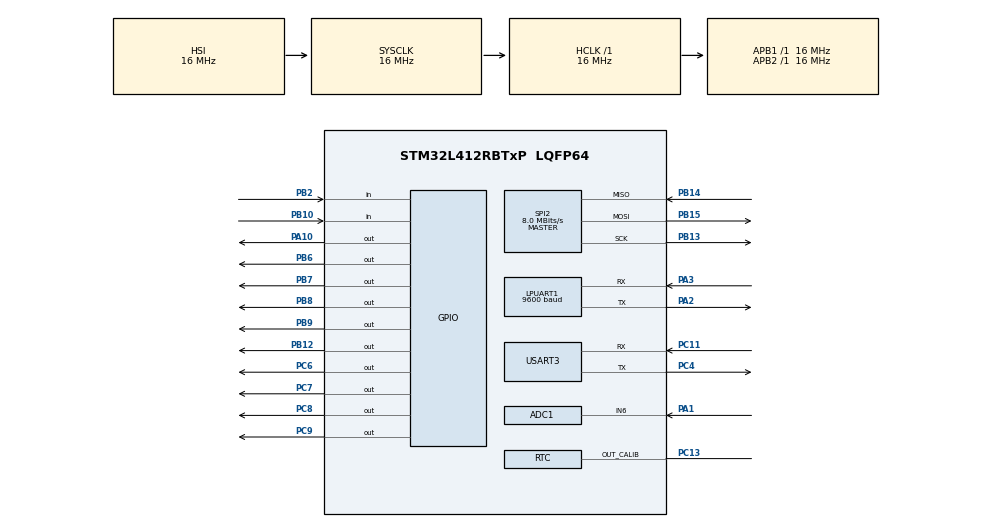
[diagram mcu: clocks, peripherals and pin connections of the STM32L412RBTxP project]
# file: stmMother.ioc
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ADC1.Channel-1\#ChannelRegularConversion=ADC_CHANNEL_6
ADC1.NbrOfConversionFlag=1
ADC1.OffsetNumber-1\#ChannelRegularConversion=ADC_OFFSET_NONE
ADC1.Rank-1\#ChannelRegularConversion=1
ADC1.SamplingTime-1\#ChannelRegularConversion=ADC_SAMPLETIME_2CYCLES_5
ADC1.master=1
FATFS._MAX_SS=4096
FATFS._USE_LFN=1
LPUART1.BaudRate=9600
LPUART1.WordLength=UART_WORDLENGTH_8B
Mcu.Family=STM32L4
Mcu.Name=STM32L412RBTxP
Mcu.Package=LQFP64
NVIC.LPUART1_IRQn=true\:0\:0\:false\:false\:true\:true\:true\:true
NVIC.PriorityGroup=NVIC_PRIORITYGROUP_4
NVIC.RTC_Alarm_IRQn=true\:0\:0\:false\:false\:true\:true\:true\:true
PA1.Signal=ADCx_IN6
PA10.Signal=GPIO_Output
PA2.Mode=Asynchronous
PA2.Signal=LPUART1_TX
PA3.Mode=Asynchronous
PA3.Signal=LPUART1_RX
PB10.Signal=GPIO_Input
PB12.Signal=GPIO_Output
PB13.Mode=Full_Duplex_Master
PB13.Signal=SPI2_SCK
PB14.Mode=Full_Duplex_Master
PB14.Signal=SPI2_MISO
PB15.Mode=Full_Duplex_Master
PB15.Signal=SPI2_MOSI
PB2.Signal=GPIO_Input
PB6.Signal=GPIO_Output
PB7.Signal=GPIO_Output
PB8.Signal=GPIO_Output
PB9.Signal=GPIO_Output
PC11.Mode=Asynchronous
PC11.Signal=USART3_RX
PC13.Mode=Calibration_512Hz
PC13.Signal=RTC_OUT_CALIB
PC14-OSC32_IN\ (PC14).Mode=LSE-External-Oscillator
PC14-OSC32_IN\ (PC14).Signal=RCC_OSC32_IN
PC15-OSC32_OUT\ (PC15).Mode=LSE-External-Oscillator
PC15-OSC32_OUT\ (PC15).Signal=RCC_OSC32_OUT
PC4.Mode=Asynchronous
PC4.Signal=USART3_TX
PC6.Signal=GPIO_Output
PC7.Signal=GPIO_Output
PC8.Signal=GPIO_Output
PC9.Signal=GPIO_Output
PH0-OSC_IN\ (PH0).Mode=HSE-External-Oscillator
PH0-OSC_IN\ (PH0).Signal=RCC_OSC_IN
PH1-OSC_OUT\ (PH1).Mode=HSE-External-Oscillator
PH1-OSC_OUT\ (PH1).Signal=RCC_OSC_OUT
ProjectManager.HeapSize=0x200
ProjectManager.StackSize=0x400
ProjectManager.TargetToolchain=STM32CubeIDE
RCC.ADCFreq_Value=16000000
RCC.AHBFreq_Value=16000000
RCC.APB1Freq_Value=16000000
RCC.APB1TimFreq_Value=16000000
RCC.APB2Freq_Value=16000000
RCC.APB2TimFreq_Value=16000000
RCC.CortexFreq_Value=16000000
RCC.HCLKFreq_Value=16000000
RCC.HSE_VALUE=8000000
RCC.HSI48_VALUE=48000000
RCC.HSI_VALUE=16000000
RCC.MSI_VALUE=4000000
RCC.PLLSourceVirtual=RCC_PLLSOURCE_HSI
RCC.RTCClockSelection=RCC_RTCCLKSOURCE_LSE
RCC.SYSCLKFreq_VALUE=16000000
RCC.SYSCLKSource=RCC_SYSCLKSOURCE_HSI
RCC.USBFreq_Value=4000000
RCC.VCOOutputFreq_Value=128000000
RTC.Alarm-Alarm\ A=RTC_ALARM_A
RTC.AlarmDateWeekDaySel-Alarm\ A=RTC_ALARMDATEWEEKDAYSEL_WEEKDAY
RTC.AlarmMaskDateWeekDay-Alarm\ A=RTC_ALARMMASK_DATEWEEKDAY
RTC.AlarmMaskDateWeekDay_B-Alarm\ B=RTC_ALARMMASK_DATEWEEKDAY
RTC.AlarmMaskHours-Alarm\ A=RTC_ALARMMASK_HOURS
RTC.AlarmMaskHours_B-Alarm\ B=RTC_ALARMMASK_HOURS
RTC.AlarmMaskMinutes-Alarm\ A=RTC_ALARMMASK_MINUTES
RTC.AlarmMaskMinutes_B-Alarm\ B=RTC_ALARMMASK_MINUTES
RTC.Alarm_B-Alarm\ B=RTC_ALARM_B
RTC.Date=1
RTC.Format=RTC_FORMAT_BIN
RTC.Seconds_B-Alarm\ B=30
SH.ADCx_IN6.0=ADC1_IN6,IN6-Single-Ended
SPI2.CalculateBaudRate=8.0 MBits/s
SPI2.DataSize=SPI_DATASIZE_8BIT
SPI2.Direction=SPI_DIRECTION_2LINES
SPI2.Mode=SPI_MODE_MASTER
SPI2.VirtualType=VM_MASTER
USART3.VirtualMode-Asynchronous=VM_ASYNC
VP_FATFS_VS_Generic.Mode=User_defined
VP_RNG_VS_RNG.Mode=RNG_Activate
VP_RTC_VS_RTC_Activate.Mode=RTC_Enabled
VP_RTC_VS_RTC_Alarm_A_Intern.Mode=Alarm A
VP_RTC_VS_RTC_Alarm_B_Intern.Mode=Alarm B
VP_RTC_VS_RTC_Calendar.Mode=RTC_Calendar
board=custom

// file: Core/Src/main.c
/* USER CODE BEGIN Header */
/**
  ******************************************************************************
  * @file           : main.c
  * @brief          : Main program body
  ******************************************************************************
  * @attention
  *
  * Copyright (c) 2023 STMicroelectronics.
  * All rights reserved.
  *
  * This software is licensed under terms that can be found in the LICENSE file
  * in the root directory of this software component.
  * If no LICENSE file comes with this software, it is provided AS-IS.
  *
  ******************************************************************************
  */
/* USER CODE END Header */
#include "main.h"
#include "fatfs.h"

/* USER CODE BEGIN Includes */
#include "retarget.h"
#include <ManagementMother.h>
#include <stdio.h>
#include <stdlib.h>
#include <FlashMemoryAccess.h>
#include "UnitTests.h"

//#include <LCD/LiquidCrystal.h>
/* USER CODE END Includes */

ADC_HandleTypeDef hadc1;

UART_HandleTypeDef hlpuart1;
UART_HandleTypeDef huart3;

RNG_HandleTypeDef hrng;

RTC_HandleTypeDef hrtc;

SPI_HandleTypeDef hspi2;

void SystemClock_Config(void);
static void MX_GPIO_Init(void);
static void MX_RTC_Init(void);
static void MX_LPUART1_UART_Init(void);
static void MX_USART3_UART_Init(void);
static void MX_SPI2_Init(void);
static void MX_RNG_Init(void);
static void MX_ADC1_Init(void);

/* USER CODE BEGIN 0 */
struct Queue RXFIFO;
uint8_t UART2_rxBuffer[20];

/* USER CODE END 0 */

int main(void)
{
  /* USER CODE BEGIN 1 */
	char buf[100];

	struct CommunicationHandles handles;
    handles.SPIhandle = &hspi2;
	handles.RTChandle = &hrtc;

  /* USER CODE END 1 */

  /* MCU Configuration--------------------------------------------------------*/

  /* Reset of all peripherals, Initializes the Flash interface and the Systick. */
  HAL_Init();

  /* Configure the system clock */
  SystemClock_Config();

  /* Initialize all configured peripherals */
  MX_GPIO_Init();
  MX_FATFS_Init();
  MX_RTC_Init();
  MX_LPUART1_UART_Init();
  MX_USART3_UART_Init();
  MX_SPI2_Init();
  MX_RNG_Init();
  MX_ADC1_Init();
  /* USER CODE BEGIN 2 */
  RetargetInit(&huart3);

struct rfDataStorage rfData;
rfData.RXFIFO = &RXFIFO;

HAL_UART_Receive_IT(&hlpuart1, UART2_rxBuffer, MSG_SIZE_TRANSFER);

if(mainSetup(&rfData, &handles)){
   mainOperation(&rfData, &handles);
}

HAL_GPIO_WritePin(GPIOC, GPIO_PIN_6, GPIO_PIN_SET);
HAL_GPIO_WritePin(GPIOC, GPIO_PIN_7, GPIO_PIN_SET);
HAL_GPIO_WritePin(GPIOC, GPIO_PIN_8, GPIO_PIN_SET);
HAL_GPIO_WritePin(GPIOC, GPIO_PIN_9, GPIO_PIN_SET);
  /* USER CODE END 2 */

  /* Infinite loop */
  while (1)
  {

    /* USER CODE BEGIN 3 */
/*
	  HAL_GPIO_WritePin(SDcardGPIO, SDcardGPIOPin, GPIO_PIN_SET);
	  HAL_Delay(100);
	  SDcardTest();
	  HAL_GPIO_WritePin(SDcardGPIO, SDcardGPIOPin, GPIO_PIN_RESET);
*/
	  printf("Loop");
	  HAL_Delay(1000);
  }
  /* USER CODE END 3 */
}

void SystemClock_Config(void)
{
  RCC_OscInitTypeDef RCC_OscInitStruct = {0};
  RCC_ClkInitTypeDef RCC_ClkInitStruct = {0};

  /** Configure the main internal regulator output voltage
  */
  if (HAL_PWREx_ControlVoltageScaling(PWR_REGULATOR_VOLTAGE_SCALE1) != HAL_OK)
  {
    Error_Handler();
  }

  /** Configure LSE Drive Capability
  */
  HAL_PWR_EnableBkUpAccess();
  __HAL_RCC_LSEDRIVE_CONFIG(RCC_LSEDRIVE_LOW);

  /** Initializes the RCC Oscillators according to the specified parameters
  * in the RCC_OscInitTypeDef structure.
  */
  RCC_OscInitStruct.OscillatorType = RCC_OSCILLATORTYPE_HSI|RCC_OSCILLATORTYPE_LSE
                              |RCC_OSCILLATORTYPE_MSI;
  RCC_OscInitStruct.LSEState = RCC_LSE_ON;
  RCC_OscInitStruct.HSIState = RCC_HSI_ON;
  RCC_OscInitStruct.HSICalibrationValue = RCC_HSICALIBRATION_DEFAULT;
  RCC_OscInitStruct.MSIState = RCC_MSI_ON;
  RCC_OscInitStruct.MSICalibrationValue = 0;
  RCC_OscInitStruct.MSIClockRange = RCC_MSIRANGE_6;
  RCC_OscInitStruct.PLL.PLLState = RCC_PLL_NONE;
  if (HAL_RCC_OscConfig(&RCC_OscInitStruct) != HAL_OK)
  {
    Error_Handler();
  }

  /** Initializes the CPU, AHB and APB buses clocks
  */
  RCC_ClkInitStruct.ClockType = RCC_CLOCKTYPE_HCLK|RCC_CLOCKTYPE_SYSCLK
                              |RCC_CLOCKTYPE_PCLK1|RCC_CLOCKTYPE_PCLK2;
  RCC_ClkInitStruct.SYSCLKSource = RCC_SYSCLKSOURCE_HSI;
  RCC_ClkInitStruct.AHBCLKDivider = RCC_SYSCLK_DIV1;
  RCC_ClkInitStruct.APB1CLKDivider = RCC_HCLK_DIV1;
  RCC_ClkInitStruct.APB2CLKDivider = RCC_HCLK_DIV1;

  if (HAL_RCC_ClockConfig(&RCC_ClkInitStruct, FLASH_LATENCY_0) != HAL_OK)
  {
    Error_Handler();
  }

  /** Enable MSI Auto calibration
  */
  HAL_RCCEx_EnableMSIPLLMode();
}

static void MX_ADC1_Init(void)
{

  ADC_MultiModeTypeDef multimode = {0};
  ADC_ChannelConfTypeDef sConfig = {0};

  /** Common config
  */
  hadc1.Instance = ADC1;
  hadc1.Init.ClockPrescaler = ADC_CLOCK_ASYNC_DIV1;
  hadc1.Init.Resolution = ADC_RESOLUTION_12B;
  hadc1.Init.DataAlign = ADC_DATAALIGN_RIGHT;
  hadc1.Init.ScanConvMode = ADC_SCAN_DISABLE;
  hadc1.Init.EOCSelection = ADC_EOC_SINGLE_CONV;
  hadc1.Init.LowPowerAutoWait = DISABLE;
  hadc1.Init.ContinuousConvMode = DISABLE;
  hadc1.Init.NbrOfConversion = 1;
  hadc1.Init.DiscontinuousConvMode = DISABLE;
  hadc1.Init.ExternalTrigConv = ADC_SOFTWARE_START;
  hadc1.Init.ExternalTrigConvEdge = ADC_EXTERNALTRIGCONVEDGE_NONE;
  hadc1.Init.DMAContinuousRequests = DISABLE;
  hadc1.Init.Overrun = ADC_OVR_DATA_PRESERVED;
  hadc1.Init.OversamplingMode = DISABLE;
  if (HAL_ADC_Init(&hadc1) != HAL_OK)
  {
    Error_Handler();
  }

  /** Configure the ADC multi-mode
  */
  multimode.Mode = ADC_MODE_INDEPENDENT;
  if (HAL_ADCEx_MultiModeConfigChannel(&hadc1, &multimode) != HAL_OK)
  {
    Error_Handler();
  }

  /** Configure Regular Channel
  */
  sConfig.Channel = ADC_CHANNEL_6;
  sConfig.Rank = ADC_REGULAR_RANK_1;
  sConfig.SamplingTime = ADC_SAMPLETIME_2CYCLES_5;
  sConfig.SingleDiff = ADC_SINGLE_ENDED;
  sConfig.OffsetNumber = ADC_OFFSET_NONE;
  sConfig.Offset = 0;
  if (HAL_ADC_ConfigChannel(&hadc1, &sConfig) != HAL_OK)
  {
    Error_Handler();
  }

}

static void MX_LPUART1_UART_Init(void)
{

  hlpuart1.Instance = LPUART1;
  hlpuart1.Init.BaudRate = 9600;
  hlpuart1.Init.WordLength = UART_WORDLENGTH_8B;
  hlpuart1.Init.StopBits = UART_STOPBITS_1;
  hlpuart1.Init.Parity = UART_PARITY_NONE;
  hlpuart1.Init.Mode = UART_MODE_TX_RX;
  hlpuart1.Init.HwFlowCtl = UART_HWCONTROL_NONE;
  hlpuart1.Init.OneBitSampling = UART_ONE_BIT_SAMPLE_DISABLE;
  hlpuart1.AdvancedInit.AdvFeatureInit = UART_ADVFEATURE_NO_INIT;
  if (HAL_UART_Init(&hlpuart1) != HAL_OK)
  {
    Error_Handler();
  }

}

static void MX_USART3_UART_Init(void)
{

  huart3.Instance = USART3;
  huart3.Init.BaudRate = 115200;
  huart3.Init.WordLength = UART_WORDLENGTH_8B;
  huart3.Init.StopBits = UART_STOPBITS_1;
  huart3.Init.Parity = UART_PARITY_NONE;
  huart3.Init.Mode = UART_MODE_TX_RX;
  huart3.Init.HwFlowCtl = UART_HWCONTROL_NONE;
  huart3.Init.OverSampling = UART_OVERSAMPLING_16;
  huart3.Init.OneBitSampling = UART_ONE_BIT_SAMPLE_DISABLE;
  huart3.AdvancedInit.AdvFeatureInit = UART_ADVFEATURE_NO_INIT;
  if (HAL_UART_Init(&huart3) != HAL_OK)
  {
    Error_Handler();
  }

}

static void MX_RNG_Init(void)
{

  hrng.Instance = RNG;
  if (HAL_RNG_Init(&hrng) != HAL_OK)
  {
    Error_Handler();
  }

}

static void MX_RTC_Init(void)
{

  RTC_TimeTypeDef sTime = {0};
  RTC_DateTypeDef sDate = {0};
  RTC_AlarmTypeDef sAlarm = {0};

  /** Initialize RTC Only
  */
  hrtc.Instance = RTC;
  hrtc.Init.HourFormat = RTC_HOURFORMAT_24;
  hrtc.Init.AsynchPrediv = 127;
  hrtc.Init.SynchPrediv = 255;
  hrtc.Init.OutPut = RTC_OUTPUT_DISABLE;
  hrtc.Init.OutPutRemap = RTC_OUTPUT_REMAP_NONE;
  hrtc.Init.OutPutPolarity = RTC_OUTPUT_POLARITY_HIGH;
  hrtc.Init.OutPutType = RTC_OUTPUT_TYPE_OPENDRAIN;
  hrtc.Init.OutPutPullUp = RTC_OUTPUT_PULLUP_NONE;
  if (HAL_RTC_Init(&hrtc) != HAL_OK)
  {
    Error_Handler();
  }

  /* USER CODE BEGIN Check_RTC_BKUP */

  if (HAL_RTCEx_BKUPRead(&hrtc, RTC_BKP_DR0) != RTC_BKUP_DEFINE_CODE)
    {
  	// Clear Backup registor : recover to current RTC information

  	// Set to Time/Date from current Time/Date

  	// Write a data in ad RTC Backup data register
  	HAL_RTCEx_BKUPWrite(&hrtc, RTC_BKP_DR0, RTC_BKUP_DEFINE_CODE);

  	  sTime.Hours = 0;
  	  sTime.Minutes = 0;
  	  sTime.Seconds = 0;
  	  sTime.DayLightSaving = RTC_DAYLIGHTSAVING_NONE;
  	  sTime.StoreOperation = RTC_STOREOPERATION_RESET;
  	  if (HAL_RTC_SetTime(&hrtc, &sTime, RTC_FORMAT_BIN) != HAL_OK)
  	  {
  		Error_Handler();
  	  }
  	  sDate.WeekDay = RTC_WEEKDAY_MONDAY;
  	  sDate.Month = RTC_MONTH_JANUARY;
  	  sDate.Date = 1;
  	  sDate.Year = 0;

  	  if (HAL_RTC_SetDate(&hrtc, &sDate, RTC_FORMAT_BIN) != HAL_OK)
  	  {
  		Error_Handler();
  	  }

    } else
    {
  	// Only read time and date
  	HAL_RTC_GetTime(&hrtc, &sTime, RTC_FORMAT_BIN);
  	HAL_RTC_GetDate(&hrtc, &sDate, RTC_FORMAT_BIN);

    }

  /* USER CODE END Check_RTC_BKUP */

  /** Initialize RTC and set the Time and Date
  */

  /** Enable the Alarm A
  */
  sAlarm.AlarmTime.Hours = 0;
  sAlarm.AlarmTime.Minutes = 0;
  sAlarm.AlarmTime.Seconds = 0;
  sAlarm.AlarmTime.SubSeconds = 0;
  sAlarm.AlarmTime.DayLightSaving = RTC_DAYLIGHTSAVING_NONE;
  sAlarm.AlarmTime.StoreOperation = RTC_STOREOPERATION_RESET;
  sAlarm.AlarmMask = RTC_ALARMMASK_DATEWEEKDAY|RTC_ALARMMASK_HOURS
                              |RTC_ALARMMASK_MINUTES;
  sAlarm.AlarmSubSecondMask = RTC_ALARMSUBSECONDMASK_ALL;
  sAlarm.AlarmDateWeekDaySel = RTC_ALARMDATEWEEKDAYSEL_WEEKDAY;
  sAlarm.AlarmDateWeekDay = 1;
  sAlarm.Alarm = RTC_ALARM_A;
  if (HAL_RTC_SetAlarm_IT(&hrtc, &sAlarm, RTC_FORMAT_BIN) != HAL_OK)
  {
    Error_Handler();
  }

  /** Enable the Alarm B
  */
  sAlarm.AlarmTime.Seconds = 30;
  sAlarm.AlarmDateWeekDaySel = RTC_ALARMDATEWEEKDAYSEL_DATE;
  sAlarm.Alarm = RTC_ALARM_B;
  if (HAL_RTC_SetAlarm_IT(&hrtc, &sAlarm, RTC_FORMAT_BIN) != HAL_OK)
  {
    Error_Handler();
  }

  /** Enable Calibration
  */
  if (HAL_RTCEx_SetCalibrationOutPut(&hrtc, RTC_CALIBOUTPUT_512HZ) != HAL_OK)
  {
    Error_Handler();
  }

}

static void MX_SPI2_Init(void)
{

  /* SPI2 parameter configuration*/
  hspi2.Instance = SPI2;
  hspi2.Init.Mode = SPI_MODE_MASTER;
  hspi2.Init.Direction = SPI_DIRECTION_2LINES;
  hspi2.Init.DataSize = SPI_DATASIZE_8BIT;
  hspi2.Init.CLKPolarity = SPI_POLARITY_LOW;
  hspi2.Init.CLKPhase = SPI_PHASE_1EDGE;
  hspi2.Init.NSS = SPI_NSS_SOFT;
  hspi2.Init.BaudRatePrescaler = SPI_BAUDRATEPRESCALER_2;
  hspi2.Init.FirstBit = SPI_FIRSTBIT_MSB;
  hspi2.Init.TIMode = SPI_TIMODE_DISABLE;
  hspi2.Init.CRCCalculation = SPI_CRCCALCULATION_DISABLE;
  hspi2.Init.CRCPolynomial = 7;
  hspi2.Init.CRCLength = SPI_CRC_LENGTH_DATASIZE;
  hspi2.Init.NSSPMode = SPI_NSS_PULSE_ENABLE;
  if (HAL_SPI_Init(&hspi2) != HAL_OK)
  {
    Error_Handler();
  }

}

static void MX_GPIO_Init(void)
{
  GPIO_InitTypeDef GPIO_InitStruct = {0};

  /* GPIO Ports Clock Enable */
  __HAL_RCC_GPIOC_CLK_ENABLE();
  __HAL_RCC_GPIOH_CLK_ENABLE();
  __HAL_RCC_GPIOA_CLK_ENABLE();
  __HAL_RCC_GPIOB_CLK_ENABLE();

  /*Configure GPIO pin Output Level */
  HAL_GPIO_WritePin(GPIOB, GPIO_PIN_12|GPIO_PIN_6|GPIO_PIN_7|GPIO_PIN_8
                          |GPIO_PIN_9, GPIO_PIN_RESET);

  /*Configure GPIO pin Output Level */
  HAL_GPIO_WritePin(GPIOC, GPIO_PIN_6|GPIO_PIN_7|GPIO_PIN_8|GPIO_PIN_9, GPIO_PIN_RESET);

  /*Configure GPIO pin Output Level */
  HAL_GPIO_WritePin(GPIOA, GPIO_PIN_10, GPIO_PIN_RESET);

  /*Configure GPIO pins : PB2 PB10 */
  GPIO_InitStruct.Pin = GPIO_PIN_2|GPIO_PIN_10;
  GPIO_InitStruct.Mode = GPIO_MODE_INPUT;
  GPIO_InitStruct.Pull = GPIO_NOPULL;
  HAL_GPIO_Init(GPIOB, &GPIO_InitStruct);

  /*Configure GPIO pins : PB12 PB6 PB7 PB8
                           PB9 */
  GPIO_InitStruct.Pin = GPIO_PIN_12|GPIO_PIN_6|GPIO_PIN_7|GPIO_PIN_8
                          |GPIO_PIN_9;
  GPIO_InitStruct.Mode = GPIO_MODE_OUTPUT_PP;
  GPIO_InitStruct.Pull = GPIO_NOPULL;
  GPIO_InitStruct.Speed = GPIO_SPEED_FREQ_LOW;
  HAL_GPIO_Init(GPIOB, &GPIO_InitStruct);

  /*Configure GPIO pins : PC6 PC7 PC8 PC9 */
  GPIO_InitStruct.Pin = GPIO_PIN_6|GPIO_PIN_7|GPIO_PIN_8|GPIO_PIN_9;
  GPIO_InitStruct.Mode = GPIO_MODE_OUTPUT_PP;
  GPIO_InitStruct.Pull = GPIO_NOPULL;
  GPIO_InitStruct.Speed = GPIO_SPEED_FREQ_LOW;
  HAL_GPIO_Init(GPIOC, &GPIO_InitStruct);

  /*Configure GPIO pin : PA10 */
  GPIO_InitStruct.Pin = GPIO_PIN_10;
  GPIO_InitStruct.Mode = GPIO_MODE_OUTPUT_PP;
  GPIO_InitStruct.Pull = GPIO_NOPULL;
  GPIO_InitStruct.Speed = GPIO_SPEED_FREQ_LOW;
  HAL_GPIO_Init(GPIOA, &GPIO_InitStruct);

}

/* USER CODE BEGIN 4 */
void HAL_UART_RxCpltCallback(UART_HandleTypeDef *huart)
{
	//printf("\r\nreceived uart message");
	for (int i = 0; i < MSG_SIZE_TRANSFER; i++)
	{
			printf("\r\nreceived uart message: %x", UART2_rxBuffer[i]);
			enqueue(&RXFIFO, UART2_rxBuffer[i]);
	}
	//Setup new receive interrupt
	HAL_UART_Receive_IT(&hlpuart1, UART2_rxBuffer, MSG_SIZE_TRANSFER);

	//Abort new interrupt to clear the buffer
	HAL_UART_Abort_IT(&hlpuart1);

	//Setup new clean receive interrupt
	HAL_UART_Receive_IT(&hlpuart1, UART2_rxBuffer, MSG_SIZE_TRANSFER);
}
/* USER CODE END 4 */

void Error_Handler(void)
{
  __disable_irq();
  while (1)
  {
  }
}
